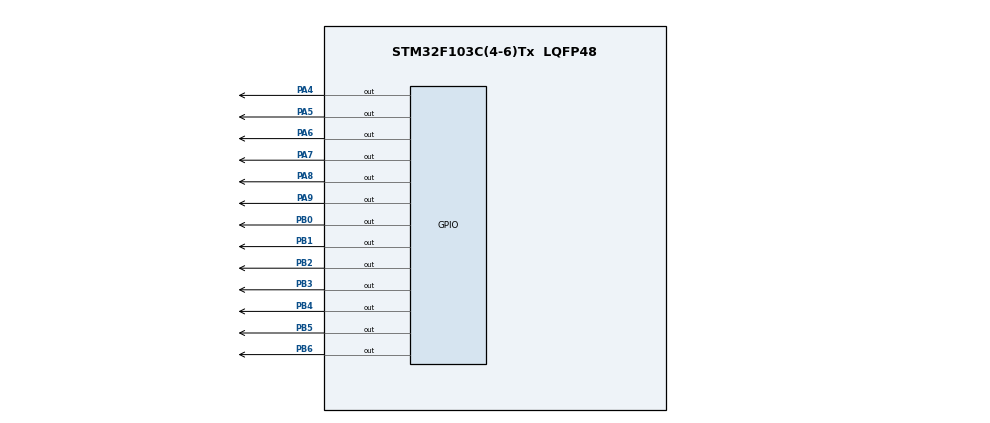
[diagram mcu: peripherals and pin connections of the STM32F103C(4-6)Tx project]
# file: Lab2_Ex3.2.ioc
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Mcu.Family=STM32F1
Mcu.Name=STM32F103C(4-6)Tx
Mcu.Package=LQFP48
NVIC.PriorityGroup=NVIC_PRIORITYGROUP_4
NVIC.TIM2_IRQn=true\:0\:0\:false\:false\:true\:true\:true
PA4.Signal=GPIO_Output
PA5.Signal=GPIO_Output
PA6.Signal=GPIO_Output
PA7.Signal=GPIO_Output
PA8.Signal=GPIO_Output
PA9.Signal=GPIO_Output
PB0.Signal=GPIO_Output
PB1.Signal=GPIO_Output
PB2.Signal=GPIO_Output
PB3.Signal=GPIO_Output
PB4.Signal=GPIO_Output
PB5.Signal=GPIO_Output
PB6.Signal=GPIO_Output
PD0-OSC_IN.Mode=HSE-External-Oscillator
PD0-OSC_IN.Signal=RCC_OSC_IN
PD1-OSC_OUT.Mode=HSE-External-Oscillator
PD1-OSC_OUT.Signal=RCC_OSC_OUT
ProjectManager.HeapSize=0x200
ProjectManager.StackSize=0x400
ProjectManager.TargetToolchain=STM32CubeIDE
RCC.APB1Freq_Value=8000000
RCC.APB2Freq_Value=8000000
TIM2.Period=9
TIM2.Prescaler=7999
VP_SYS_VS_ND.Mode=No_Debug
VP_TIM2_VS_ClockSourceINT.Mode=Internal
board=custom

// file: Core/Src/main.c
/* USER CODE BEGIN Header */
/**
  ******************************************************************************
  * @file           : main.c
  * @brief          : Main program body
  ******************************************************************************
  * @attention
  *
  * <h2><center>&copy; Copyright (c) 2021 STMicroelectronics.
  * All rights reserved.</center></h2>
  *
  * This software component is licensed by ST under BSD 3-Clause license,
  * the "License"; You may not use this file except in compliance with the
  * License. You may obtain a copy of the License at:
  *                        opensource.org/licenses/BSD-3-Clause
  *
  ******************************************************************************
  */
/* USER CODE END Header */
#include "main.h"

TIM_HandleTypeDef htim2;

void SystemClock_Config(void);
static void MX_GPIO_Init(void);
static void MX_TIM2_Init(void);

/* USER CODE BEGIN 0 */
uint8_t nums[10] = {0x01, 0x4F, 0x12, 0x06, 0x4C, 0x24, 0x20, 0x0F, 0x00, 0x04};

void display7SEG(uint8_t num) {
	HAL_GPIO_WritePin(GPIOB, GPIO_PIN_0, num & 0x40);
	HAL_GPIO_WritePin(GPIOB, GPIO_PIN_1, num & 0x20);
	HAL_GPIO_WritePin(GPIOB, GPIO_PIN_2, num & 0x10);
	HAL_GPIO_WritePin(GPIOB, GPIO_PIN_3, num & 0x08);
	HAL_GPIO_WritePin(GPIOB, GPIO_PIN_4, num & 0x04);
	HAL_GPIO_WritePin(GPIOB, GPIO_PIN_5, num & 0x02);
	HAL_GPIO_WritePin(GPIOB, GPIO_PIN_6, num & 0x01);
}
/* USER CODE END 0 */

int main(void)
{

  /* MCU Configuration--------------------------------------------------------*/

  /* Reset of all peripherals, Initializes the Flash interface and the Systick. */
  HAL_Init();

  /* Configure the system clock */
  SystemClock_Config();

  /* Initialize all configured peripherals */
  MX_GPIO_Init();
  MX_TIM2_Init();
  /* USER CODE BEGIN 2 */
  HAL_TIM_Base_Start_IT(&htim2);
  /* USER CODE END 2 */

  /* Infinite loop */
  while (1)
  {

  }
}

void SystemClock_Config(void)
{
  RCC_OscInitTypeDef RCC_OscInitStruct = {0};
  RCC_ClkInitTypeDef RCC_ClkInitStruct = {0};

  /** Initializes the RCC Oscillators according to the specified parameters
  * in the RCC_OscInitTypeDef structure.
  */
  RCC_OscInitStruct.OscillatorType = RCC_OSCILLATORTYPE_HSI;
  RCC_OscInitStruct.HSIState = RCC_HSI_ON;
  RCC_OscInitStruct.HSICalibrationValue = RCC_HSICALIBRATION_DEFAULT;
  RCC_OscInitStruct.PLL.PLLState = RCC_PLL_NONE;
  if (HAL_RCC_OscConfig(&RCC_OscInitStruct) != HAL_OK)
  {
    Error_Handler();
  }
  /** Initializes the CPU, AHB and APB buses clocks
  */
  RCC_ClkInitStruct.ClockType = RCC_CLOCKTYPE_HCLK|RCC_CLOCKTYPE_SYSCLK
                              |RCC_CLOCKTYPE_PCLK1|RCC_CLOCKTYPE_PCLK2;
  RCC_ClkInitStruct.SYSCLKSource = RCC_SYSCLKSOURCE_HSI;
  RCC_ClkInitStruct.AHBCLKDivider = RCC_SYSCLK_DIV1;
  RCC_ClkInitStruct.APB1CLKDivider = RCC_HCLK_DIV1;
  RCC_ClkInitStruct.APB2CLKDivider = RCC_HCLK_DIV1;

  if (HAL_RCC_ClockConfig(&RCC_ClkInitStruct, FLASH_LATENCY_0) != HAL_OK)
  {
    Error_Handler();
  }
}

static void MX_TIM2_Init(void)
{

  TIM_ClockConfigTypeDef sClockSourceConfig = {0};
  TIM_MasterConfigTypeDef sMasterConfig = {0};

  htim2.Instance = TIM2;
  htim2.Init.Prescaler = 7999;
  htim2.Init.CounterMode = TIM_COUNTERMODE_UP;
  htim2.Init.Period = 9;
  htim2.Init.ClockDivision = TIM_CLOCKDIVISION_DIV1;
  htim2.Init.AutoReloadPreload = TIM_AUTORELOAD_PRELOAD_DISABLE;
  if (HAL_TIM_Base_Init(&htim2) != HAL_OK)
  {
    Error_Handler();
  }
  sClockSourceConfig.ClockSource = TIM_CLOCKSOURCE_INTERNAL;
  if (HAL_TIM_ConfigClockSource(&htim2, &sClockSourceConfig) != HAL_OK)
  {
    Error_Handler();
  }
  sMasterConfig.MasterOutputTrigger = TIM_TRGO_RESET;
  sMasterConfig.MasterSlaveMode = TIM_MASTERSLAVEMODE_DISABLE;
  if (HAL_TIMEx_MasterConfigSynchronization(&htim2, &sMasterConfig) != HAL_OK)
  {
    Error_Handler();
  }

}

static void MX_GPIO_Init(void)
{
  GPIO_InitTypeDef GPIO_InitStruct = {0};

  /* GPIO Ports Clock Enable */
  __HAL_RCC_GPIOA_CLK_ENABLE();
  __HAL_RCC_GPIOB_CLK_ENABLE();

  /*Configure GPIO pin Output Level */
  HAL_GPIO_WritePin(GPIOA, GPIO_PIN_4|GPIO_PIN_5|GPIO_PIN_6|GPIO_PIN_7
                          |GPIO_PIN_8|GPIO_PIN_9, GPIO_PIN_RESET);

  /*Configure GPIO pin Output Level */
  HAL_GPIO_WritePin(GPIOB, GPIO_PIN_0|GPIO_PIN_1|GPIO_PIN_2|GPIO_PIN_3
                          |GPIO_PIN_4|GPIO_PIN_5|GPIO_PIN_6, GPIO_PIN_RESET);

  /*Configure GPIO pins : PA4 PA5 PA6 PA7
                           PA8 PA9 */
  GPIO_InitStruct.Pin = GPIO_PIN_4|GPIO_PIN_5|GPIO_PIN_6|GPIO_PIN_7
                          |GPIO_PIN_8|GPIO_PIN_9;
  GPIO_InitStruct.Mode = GPIO_MODE_OUTPUT_PP;
  GPIO_InitStruct.Pull = GPIO_NOPULL;
  GPIO_InitStruct.Speed = GPIO_SPEED_FREQ_LOW;
  HAL_GPIO_Init(GPIOA, &GPIO_InitStruct);

  /*Configure GPIO pins : PB0 PB1 PB2 PB3
                           PB4 PB5 PB6 */
  GPIO_InitStruct.Pin = GPIO_PIN_0|GPIO_PIN_1|GPIO_PIN_2|GPIO_PIN_3
                          |GPIO_PIN_4|GPIO_PIN_5|GPIO_PIN_6;
  GPIO_InitStruct.Mode = GPIO_MODE_OUTPUT_PP;
  GPIO_InitStruct.Pull = GPIO_NOPULL;
  GPIO_InitStruct.Speed = GPIO_SPEED_FREQ_LOW;
  HAL_GPIO_Init(GPIOB, &GPIO_InitStruct);

}

/* USER CODE BEGIN 4 */
int counter = 400;
void HAL_TIM_PeriodElapsedCallback(TIM_HandleTypeDef *htim)
{
	counter--;
	if(counter == 399) {
		HAL_GPIO_WritePin(GPIOA, GPIO_PIN_4, GPIO_PIN_RESET);
		HAL_GPIO_WritePin(GPIOA, GPIO_PIN_5, GPIO_PIN_RESET);
		HAL_GPIO_WritePin(GPIOA, GPIO_PIN_6, GPIO_PIN_RESET);
		HAL_GPIO_WritePin(GPIOA, GPIO_PIN_7, GPIO_PIN_SET);
		HAL_GPIO_WritePin(GPIOA, GPIO_PIN_8, GPIO_PIN_SET);
		HAL_GPIO_WritePin(GPIOA, GPIO_PIN_9, GPIO_PIN_SET);
		display7SEG(nums[1]);
	}
	else if(counter == 299) {
		HAL_GPIO_WritePin(GPIOA, GPIO_PIN_4, GPIO_PIN_SET);
		HAL_GPIO_WritePin(GPIOA, GPIO_PIN_5, GPIO_PIN_SET);
		HAL_GPIO_WritePin(GPIOA, GPIO_PIN_6, GPIO_PIN_SET);
		HAL_GPIO_WritePin(GPIOA, GPIO_PIN_7, GPIO_PIN_RESET);
		HAL_GPIO_WritePin(GPIOA, GPIO_PIN_8, GPIO_PIN_SET);
		HAL_GPIO_WritePin(GPIOA, GPIO_PIN_9, GPIO_PIN_SET);
		display7SEG(nums[2]);
	}
	else if(counter == 199) {
		HAL_GPIO_WritePin(GPIOA, GPIO_PIN_4, GPIO_PIN_RESET);
		HAL_GPIO_WritePin(GPIOA, GPIO_PIN_5, GPIO_PIN_RESET);
		HAL_GPIO_WritePin(GPIOA, GPIO_PIN_6, GPIO_PIN_SET);
		HAL_GPIO_WritePin(GPIOA, GPIO_PIN_7, GPIO_PIN_SET);
		HAL_GPIO_WritePin(GPIOA, GPIO_PIN_8, GPIO_PIN_RESET);
		HAL_GPIO_WritePin(GPIOA, GPIO_PIN_9, GPIO_PIN_SET);
		display7SEG(nums[3]);
	}
	else if(counter == 99) {
		HAL_GPIO_WritePin(GPIOA, GPIO_PIN_4, GPIO_PIN_SET);
		HAL_GPIO_WritePin(GPIOA, GPIO_PIN_5, GPIO_PIN_SET);
		HAL_GPIO_WritePin(GPIOA, GPIO_PIN_6, GPIO_PIN_SET);
		HAL_GPIO_WritePin(GPIOA, GPIO_PIN_7, GPIO_PIN_SET);
		HAL_GPIO_WritePin(GPIOA, GPIO_PIN_8, GPIO_PIN_SET);
		HAL_GPIO_WritePin(GPIOA, GPIO_PIN_9, GPIO_PIN_RESET);
		display7SEG(nums[0]);
	}
	else if(counter == 0){
		counter = 400;
	}
}
/* USER CODE END 4 */

void Error_Handler(void)
{
  __disable_irq();
  while (1)
  {
  }
}

/************************ (C) COPYRIGHT STMicroelectronics *****END OF FILE****/
